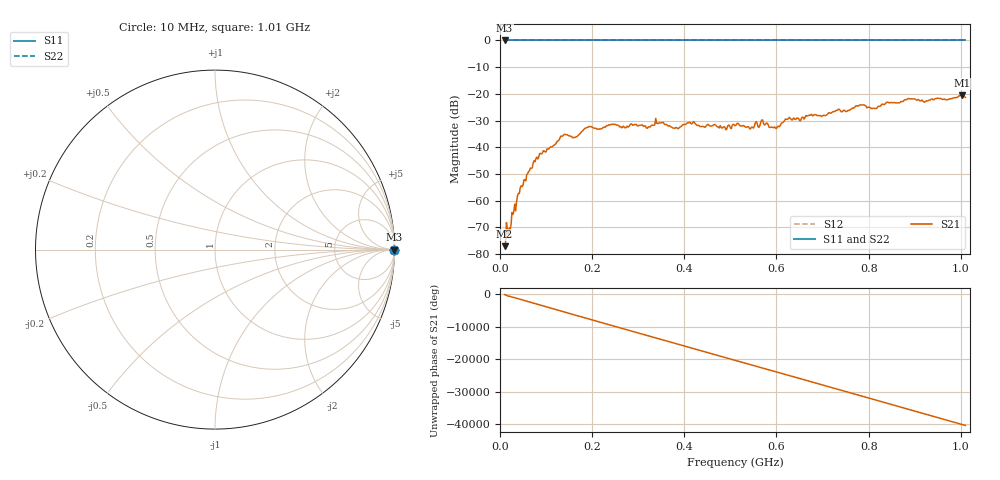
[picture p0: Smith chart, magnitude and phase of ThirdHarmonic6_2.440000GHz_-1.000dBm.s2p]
! 8/17/2025 4:17:22 AM
! C:\ANRITSUVNA\TEMP\TEMP.S2P
! CHANNEL.1
! TR.MEASUREMENT
! RAW.DATA
! RF.CORRECTION.OFF
! AVERAGING.OFF
! IF.BANDWIDTH: 5KHZ
! SWEEPTYPE:  FREQ.SWEEP(Linear)
! Reference Plane Port Info
! PORT:  PORT1  PORT2
! DISTANCE:  0  m  0  m
! TIME:  0  s  0  s
! PHASE.OFFSET:  0  deg.  0  deg.
! LOSS:  0  dB  0  dB
! REF.LOSS:  0  dB  0  dB
! REF.FREQ:  0  Hz  0  Hz
! Power Info
! POWER:  -20  dBm  -20  dBm
! EFF.POWER:  -20  dBm  -20  dBm
! SOURCE.ATTEN:  0  dB  0  dB
! TEST.ATTEN:  0  dB  0  dB
# GHZ S RI R 50.0
! FREQ.GHZ  S11RE  S11IM  S21RE  S21IM  S12RE  S12IM  S22RE  S22IM
!; PortSelection: Port_12
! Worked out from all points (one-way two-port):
!   501 points, 10 MHz to 1.01 GHz, reference 50 ohm
!   highest |S21| = -20.55 dB at 1.002 GHz (marker M1); lowest = -77.0 dB at 10 MHz (marker M2)
!   lowest |S11| = 0.0 dB at 10 MHz (marker M3)
!   |S11| at or under -10 dB: nowhere
!   |S22| runs from 0.0 to 0.0 dB; largest |S21 - S12| = 1.1
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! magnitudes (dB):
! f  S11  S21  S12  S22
! 10 MHz  0.0  -77.0  0.0  0.0
! 20 MHz  0.0  -70.3  0.0  0.0
! 42 MHz  0.0  -57.3  0.0  0.0
! 76 MHz  0.0  -45.4  0.0  0.0
! 136 MHz  0.0  -35.8  0.0  0.0
! 162 MHz  0.0  -36.3  0.0  0.0
! 178 MHz  0.0  -34.0  0.0  0.0
! 194 MHz  0.0  -32.2  0.0  0.0
! 322 MHz  0.0  -32.3  0.0  0.0
! 344 MHz  0.0  -31.1  0.0  0.0
! 384 MHz  0.0  -32.7  0.0  0.0
! 410 MHz  0.0  -30.7  0.0  0.0
! 488 MHz  0.0  -32.5  0.0  0.0
! 510 MHz  0.0  -31.9  0.0  0.0
! 546 MHz  0.0  -32.4  0.0  0.0
! 570 MHz  0.0  -29.8  0.0  0.0
! 596 MHz  0.0  -32.4  0.0  0.0
! 624 MHz  0.0  -29.5  0.0  0.0
! 678 MHz  0.0  -28.2  0.0  0.0
! 844 MHz  0.0  -23.3  0.0  0.0
! 1.002 GHz  0.0  -20.5  0.0  0.0
! 1.01 GHz  0.0  -21.3  0.0  0.0
